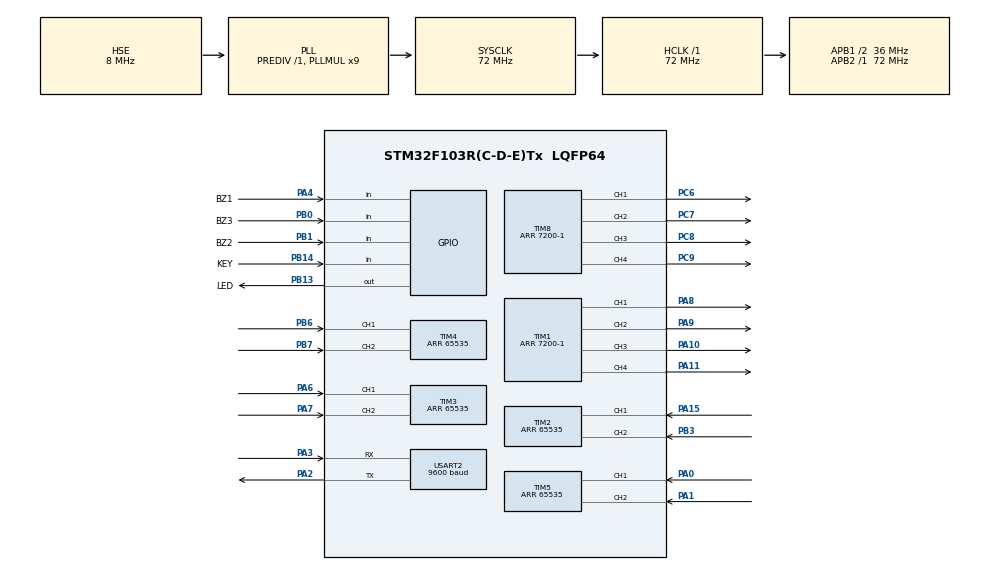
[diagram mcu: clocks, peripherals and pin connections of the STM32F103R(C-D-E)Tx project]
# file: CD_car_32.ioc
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Mcu.Family=STM32F1
SH.S_TIM1_CH4.0=TIM1_CH4,PWM Generation4 CH4
PB14.GPIO_Label=KEY
TIM4.EncoderMode=TIM_ENCODERMODE_TI12
TIM5.EncoderMode=TIM_ENCODERMODE_TI12
TIM3.EncoderMode=TIM_ENCODERMODE_TI12
SH.S_TIM5_CH2.0=TIM5_CH2,Encoder_Interface
PB0.GPIO_Label=BZ3
TIM2.EncoderMode=TIM_ENCODERMODE_TI12
TIM8.Channel-PWM\ Generation4\ CH4=TIM_CHANNEL_4
PB13.GPIO_Label=LED
PB13.Signal=GPIO_Output
RCC.SYSCLKSource=RCC_SYSCLKSOURCE_PLLCLK
ProjectManager.StackSize=0x400
PD1-OSC_OUT.Signal=RCC_OSC_OUT
TIM1.Channel-PWM\ Generation4\ CH4=TIM_CHANNEL_4
RCC.HCLKFreq_Value=72000000
TIM8.Channel-PWM\ Generation1\ CH1=TIM_CHANNEL_1
RCC.APB2TimFreq_Value=72000000
TIM3.Period=65535
PB6.Signal=S_TIM4_CH1
PC7.Signal=S_TIM8_CH2
RCC.AHBFreq_Value=72000000
RCC.PLLMUL=RCC_PLL_MUL9
TIM1.Channel-PWM\ Generation1\ CH1=TIM_CHANNEL_1
PA14.Mode=Serial_Wire
PB1.GPIO_Label=BZ2
SH.S_TIM4_CH2.0=TIM4_CH2,Encoder_Interface
PB7.Signal=S_TIM4_CH2
PA8.Signal=S_TIM1_CH1
SH.S_TIM3_CH1.0=TIM3_CH1,Encoder_Interface
TIM4.Period=65535
TIM6.Period=100-1
TIM5.IC1Filter=10
Mcu.Package=LQFP64
PA6.Signal=S_TIM3_CH1
PB1.Signal=GPIO_Input
TIM8.Channel-PWM\ Generation3\ CH3=TIM_CHANNEL_3
SH.S_TIM8_CH4.0=TIM8_CH4,PWM Generation4 CH4
USART2.VirtualMode=VM_ASYNC
PA10.Signal=S_TIM1_CH3
TIM8.Channel-PWM\ Generation2\ CH2=TIM_CHANNEL_2
PA15.Signal=S_TIM2_CH1_ETR
TIM4.IC1Filter=10
SH.S_TIM4_CH1.0=TIM4_CH1,Encoder_Interface
RCC.APB1TimFreq_Value=72000000
SH.S_TIM5_CH1.0=TIM5_CH1,Encoder_Interface
TIM1.Period=7200-1
PA4.GPIO_Label=BZ1
PA3.Signal=USART2_RX
SH.S_TIM8_CH3.0=TIM8_CH3,PWM Generation3 CH3
RCC.PLLSourceVirtual=RCC_PLLSOURCE_HSE
TIM5.IC2Filter=10
PD1-OSC_OUT.Mode=HSE-External-Oscillator
TIM2.IC1Filter=10
PC8.Signal=S_TIM8_CH3
TIM6.Prescaler=7200-1
PC6.Signal=S_TIM8_CH1
VP_TIM6_VS_ClockSourceINT.Mode=Enable_Timer
TIM4.IC2Filter=10
PD0-OSC_IN.Signal=RCC_OSC_IN
RCC.APB1CLKDivider=RCC_HCLK_DIV2
NVIC.USART2_IRQn=true\:0\:0\:false\:false\:true\:true\:true
USART2.BaudRate=9600
SH.S_TIM8_CH2.0=TIM8_CH2,PWM Generation2 CH2
PA0-WKUP.Signal=S_TIM5_CH1
NVIC.TIM6_IRQn=true\:0\:0\:false\:false\:true\:true\:true
PA13.Signal=SYS_JTMS-SWDIO
PA3.Mode=Asynchronous
SH.S_TIM2_CH2.0=TIM2_CH2,Encoder_Interface
SH.S_TIM1_CH1.0=TIM1_CH1,PWM Generation1 CH1
ProjectManager.TargetToolchain=SW4STM32
TIM3.IC2Filter=10
PA9.Signal=S_TIM1_CH2
TIM1.Channel-PWM\ Generation2\ CH2=TIM_CHANNEL_2
RCC.USBFreq_Value=72000000
PA1.Signal=S_TIM5_CH2
PD0-OSC_IN.Mode=HSE-External-Oscillator
PB14.Signal=GPIO_Input
SH.S_TIM3_CH2.0=TIM3_CH2,Encoder_Interface
TIM3.IC1Filter=10
SH.S_TIM8_CH1.0=TIM8_CH1,PWM Generation1 CH1
board=custom
RCC.APB2Freq_Value=72000000
SH.S_TIM1_CH2.0=TIM1_CH2,PWM Generation2 CH2
TIM2.Period=65535
PA13.Mode=Serial_Wire
Mcu.Name=STM32F103R(C-D-E)Tx
PA2.Signal=USART2_TX
TIM8.Period=7200-1
PB3.Signal=S_TIM2_CH2
PA4.Signal=GPIO_Input
RCC.SYSCLKFreq_VALUE=72000000
PA11.Signal=S_TIM1_CH4
SH.S_TIM2_CH1_ETR.0=TIM2_CH1,Encoder_Interface
PA14.Signal=SYS_JTCK-SWCLK
ProjectManager.HeapSize=0x200
SH.S_TIM1_CH3.0=TIM1_CH3,PWM Generation3 CH3
NVIC.PriorityGroup=NVIC_PRIORITYGROUP_4
PA2.Mode=Asynchronous
TIM5.Period=65535
PC9.Signal=S_TIM8_CH4
TIM1.Channel-PWM\ Generation3\ CH3=TIM_CHANNEL_3
RCC.APB1Freq_Value=36000000
PB0.Signal=GPIO_Input
TIM2.IC2Filter=10
PA7.Signal=S_TIM3_CH2

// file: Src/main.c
/* USER CODE BEGIN Header */
/**
  ******************************************************************************
  * @file           : main.c
  * @brief          : Main program body
  ******************************************************************************
  * @attention
  *
  * <h2><center>&copy; Copyright (c) 2020 STMicroelectronics.
  * All rights reserved.</center></h2>
  *
  * This software component is licensed by ST under BSD 3-Clause license,
  * the "License"; You may not use this file except in compliance with the
  * License. You may obtain a copy of the License at:
  *                        opensource.org/licenses/BSD-3-Clause
  *
  ******************************************************************************
  */
/* USER CODE END Header */

#include "main.h"
#include "tim.h"
#include "usart.h"
#include "gpio.h"

/* USER CODE BEGIN Includes */
#include <string.h>
#include <stdio.h>

/* USER CODE END Includes */

/* USER CODE BEGIN PTD */
#define BUFLEN 10
typedef struct {
    uint8_t x;
    uint8_t y;
    uint8_t z;
}Control; //上位机控制指�???????
typedef struct {
    float x;
    float y;
    float z;
}Move; //处理后�?�度

typedef struct {
    int A;
    int B;
    int C;
    int D;
}Target; //目标�???????

typedef struct {
    int A;
    int B;
    int C;
    int D;
}Encoder; //编码器�??
typedef struct {
    int A;
    int B;
    int C;
    int D;
}Motor; //电机�???????

/* USER CODE END PTD */

/* USER CODE BEGIN PV */
uint8_t RxBuffer; //串口接收
Control order; //上位机指�???????
Move mov; //XYZ目标速度
Target tgt; //电机目标�???????
Encoder enc; //编码器�??
Motor motr; //电机PWM�???????
float Velocity_KP=10,Velocity_KI=10; //速度控制PID参数

uint16_t usartCnt = 0;
uint16_t beforeCnt = 0;
uint8_t checkTime = 0;

//int befor_count=0; //1s以前的串口完整传输次�?
//int now_count=0;    //1s以后的串口完整传输次�?
//int time=0;
//int flag=0;
//
//int ir_A4=0;    //红外三个标志位
//int ir_B0=0;
//int ir_B1=0;
/* USER CODE END PV */

void SystemClock_Config(void);

/* USER CODE BEGIN 0 */

void flash_ENC(){
    enc.A = (short)__HAL_TIM_GET_COUNTER(&htim2);
    __HAL_TIM_SET_COUNTER(&htim2, 0);
    enc.B = (short)__HAL_TIM_GET_COUNTER(&htim3);
    __HAL_TIM_SET_COUNTER(&htim3, 0);
    enc.C = (short)__HAL_TIM_GET_COUNTER(&htim4);
    __HAL_TIM_SET_COUNTER(&htim4, 0);
    enc.D = (short)__HAL_TIM_GET_COUNTER(&htim5);
    __HAL_TIM_SET_COUNTER(&htim5, 0);

}
void order_To_Move(){
    mov.x = (float )(order.x-100);
    mov.y = (float )(order.y-100);
    mov.z = (float )(order.z-100);
    mov.x = -mov.x;
//    mov.y = -mov.y;
    mov.z = mov.z;
}
void check_ir(){
    if(!HAL_GPIO_ReadPin(BZ1_GPIO_Port, BZ1_Pin)){  //左
        if(mov.x > 0){
            mov.x = 0;
        }
    }
    if(!HAL_GPIO_ReadPin(BZ2_GPIO_Port, BZ2_Pin)){  //左
        if(mov.x < 0){
            mov.x = 0;
        }
    }
    if(!HAL_GPIO_ReadPin(BZ3_GPIO_Port, BZ3_Pin)){  //后
        if(mov.y < 0){
            mov.y = 0;
        }
    }
}
void check_timeout(){
    if(checkTime++ == 25){
        checkTime = 0;
        if(beforeCnt == usartCnt){
            order.x = 0x64;
            order.y = 0x64;
            order.z = 0x64;
        } else{
            beforeCnt = usartCnt;
        }
    }
}
void Kinematic_Analysis_4() {
    float wide = (float) 0.18652, lenth = (float) 0.1525;
    tgt.A = (int) (mov.y - mov.x + mov.z * (wide + lenth));
    tgt.B = (int) (mov.y + mov.x - mov.z * (wide + lenth));
    tgt.C = (int) (mov.y - mov.x - mov.z * (wide + lenth));
    tgt.D = (int) (mov.y + mov.x + mov.z * (wide + lenth));

    //dir chaenge
    tgt.A=-tgt.A;
    tgt.D=-tgt.D;
}
int Incremental_PI_A(int Encoder,int Target){
    static int Bias,Pwm,Last_bias;
    Bias=Target-Encoder;
    Pwm+=Velocity_KP*(Bias-Last_bias)+Velocity_KI*Bias;
    if(Pwm>7200)Pwm=7200;
    if(Pwm<-7200)Pwm=-7200;
    Last_bias=Bias;
    return Pwm;
}
int Incremental_PI_B(int Encoder,int Target){
    static int Bias,Pwm,Last_bias;
    Bias=Target-Encoder;
    Pwm+=Velocity_KP*(Bias-Last_bias)+Velocity_KI*Bias;
    if(Pwm>7200)Pwm=7200;
    if(Pwm<-7200)Pwm=-7200;
    Last_bias=Bias;
    return Pwm;
}
int Incremental_PI_C(int Encoder,int Target){
    static int Bias,Pwm,Last_bias;
    Bias=Target-Encoder;
    Pwm+=Velocity_KP*(Bias-Last_bias)+Velocity_KI*Bias;
    if(Pwm>7200)Pwm=7200;
    if(Pwm<-7200)Pwm=-7200;
    Last_bias=Bias;
    return Pwm;
}
int Incremental_PI_D(int Encoder,int Target){
    static int Bias,Pwm,Last_bias;
    Bias=Target-Encoder;
    Pwm+=Velocity_KP*(Bias-Last_bias)+Velocity_KI*Bias;
    if(Pwm>7200)Pwm=7200;
    if(Pwm<-7200)Pwm=-7200;
    Last_bias=Bias;
    return Pwm;
}
void range_Pwm(int amplitude){
    if(motr.A<-amplitude) motr.A=-amplitude;
    if(motr.A>amplitude)  motr.A=amplitude;
    if(motr.B<-amplitude) motr.B=-amplitude;
    if(motr.B>amplitude)  motr.B=amplitude;
    if(motr.C<-amplitude) motr.C=-amplitude;
    if(motr.C>amplitude)  motr.C=amplitude;
    if(motr.D<-amplitude) motr.D=-amplitude;
    if(motr.D>amplitude)  motr.D=amplitude;
}
void Set_Pwm(){
    if(motr.A>0){
        __HAL_TIM_SET_COMPARE(&htim1, TIM_CHANNEL_1, 7200);
        __HAL_TIM_SET_COMPARE(&htim8, TIM_CHANNEL_1, 7200-motr.A);
    }else{
        __HAL_TIM_SET_COMPARE(&htim1, TIM_CHANNEL_1, 7200+motr.A);
        __HAL_TIM_SET_COMPARE(&htim8, TIM_CHANNEL_1, 7200);
    }

    if(motr.B>0){
        __HAL_TIM_SET_COMPARE(&htim1, TIM_CHANNEL_2, 7200);
        __HAL_TIM_SET_COMPARE(&htim8, TIM_CHANNEL_2, 7200-motr.B);
    }else{
        __HAL_TIM_SET_COMPARE(&htim1, TIM_CHANNEL_2, 7200+motr.B);
        __HAL_TIM_SET_COMPARE(&htim8, TIM_CHANNEL_2, 7200);
    }

    if(motr.C>0){
        __HAL_TIM_SET_COMPARE(&htim1, TIM_CHANNEL_3, 7200);
        __HAL_TIM_SET_COMPARE(&htim8, TIM_CHANNEL_3, 7200-motr.C);
    }
    else{
        __HAL_TIM_SET_COMPARE(&htim1, TIM_CHANNEL_3, 7200+motr.C);
        __HAL_TIM_SET_COMPARE(&htim8, TIM_CHANNEL_3, 7200);
    }

    if(motr.D>0){
        __HAL_TIM_SET_COMPARE(&htim1, TIM_CHANNEL_4, 7200);
        __HAL_TIM_SET_COMPARE(&htim8, TIM_CHANNEL_4, 7200-motr.D);
    }else {
        __HAL_TIM_SET_COMPARE(&htim1, TIM_CHANNEL_4, 7200+motr.D);
        __HAL_TIM_SET_COMPARE(&htim8, TIM_CHANNEL_4, 7200);
    }
}
void init_allPara(){
    RxBuffer=0; //串口接收
    order.x=100; //上位机指�???????
    order.y=100;
    order.z=100;

    mov.x=0; //XYZ目标速度
    mov.y=0;
    mov.z=0;

    tgt.A=0;
    tgt.B=0;
    tgt.C=0;
    tgt.D=0;

    enc.A=0;
    enc.B=0;
    enc.C=0;
    enc.D=0;

    motr.A=0;
    motr.B=0;
    motr.C=0;
    motr.D=0;
}

/* USER CODE END 0 */

int main(void)
{

    /* MCU Configuration--------------------------------------------------------*/

    /* Reset of all peripherals, Initializes the Flash interface and the Systick. */
    HAL_Init();

    /* Configure the system clock */
    SystemClock_Config();

    /* Initialize all configured peripherals */
    MX_GPIO_Init();
    MX_TIM1_Init();
    MX_TIM2_Init();
    MX_TIM3_Init();
    MX_TIM4_Init();
    MX_TIM5_Init();
    MX_TIM8_Init();
    MX_USART2_UART_Init();
    MX_TIM6_Init();
    /* USER CODE BEGIN 2 */
    HAL_TIM_Encoder_Start(&htim2, TIM_CHANNEL_1|TIM_CHANNEL_2);
    HAL_TIM_Encoder_Start(&htim3, TIM_CHANNEL_1|TIM_CHANNEL_2);
    HAL_TIM_Encoder_Start(&htim4, TIM_CHANNEL_1|TIM_CHANNEL_2);
    HAL_TIM_Encoder_Start(&htim5, TIM_CHANNEL_1|TIM_CHANNEL_2);
    HAL_TIM_PWM_Start(&htim1,TIM_CHANNEL_1);
    HAL_TIM_PWM_Start(&htim1,TIM_CHANNEL_2);
    HAL_TIM_PWM_Start(&htim1,TIM_CHANNEL_3);
    HAL_TIM_PWM_Start(&htim1,TIM_CHANNEL_4);
    HAL_TIM_PWM_Start(&htim8,TIM_CHANNEL_1);
    HAL_TIM_PWM_Start(&htim8,TIM_CHANNEL_2);
    HAL_TIM_PWM_Start(&htim8,TIM_CHANNEL_3);
    HAL_TIM_PWM_Start(&htim8,TIM_CHANNEL_4);

    HAL_TIM_Base_Start_IT(&htim6);								//base timer
    HAL_UART_Receive_IT(&huart2, &RxBuffer, 1);
    init_allPara();

    /* USER CODE END 2 */

    /* Infinite loop */
    while (1)
    {

    }
}

void SystemClock_Config(void)
{
    RCC_OscInitTypeDef RCC_OscInitStruct = {0};
    RCC_ClkInitTypeDef RCC_ClkInitStruct = {0};

    /** Initializes the CPU, AHB and APB busses clocks
    */
    RCC_OscInitStruct.OscillatorType = RCC_OSCILLATORTYPE_HSE;
    RCC_OscInitStruct.HSEState = RCC_HSE_ON;
    RCC_OscInitStruct.HSEPredivValue = RCC_HSE_PREDIV_DIV1;
    RCC_OscInitStruct.HSIState = RCC_HSI_ON;
    RCC_OscInitStruct.PLL.PLLState = RCC_PLL_ON;
    RCC_OscInitStruct.PLL.PLLSource = RCC_PLLSOURCE_HSE;
    RCC_OscInitStruct.PLL.PLLMUL = RCC_PLL_MUL9;
    if (HAL_RCC_OscConfig(&RCC_OscInitStruct) != HAL_OK)
    {
        Error_Handler();
    }
    /** Initializes the CPU, AHB and APB busses clocks
    */
    RCC_ClkInitStruct.ClockType = RCC_CLOCKTYPE_HCLK|RCC_CLOCKTYPE_SYSCLK
                                  |RCC_CLOCKTYPE_PCLK1|RCC_CLOCKTYPE_PCLK2;
    RCC_ClkInitStruct.SYSCLKSource = RCC_SYSCLKSOURCE_PLLCLK;
    RCC_ClkInitStruct.AHBCLKDivider = RCC_SYSCLK_DIV1;
    RCC_ClkInitStruct.APB1CLKDivider = RCC_HCLK_DIV2;
    RCC_ClkInitStruct.APB2CLKDivider = RCC_HCLK_DIV1;

    if (HAL_RCC_ClockConfig(&RCC_ClkInitStruct, FLASH_LATENCY_2) != HAL_OK)
    {
        Error_Handler();
    }
}

/* USER CODE BEGIN 4 */
void HAL_UART_RxCpltCallback(UART_HandleTypeDef *huart){ //串口2接收中断
    if(huart == &huart2){
        static uint8_t flag, i, receive[BUFLEN];
        if(RxBuffer==0xf0) flag = 1; // 开始采集标记位
        if(RxBuffer==0xfa) flag = 2; //结束采集标记

        if(flag==1){ //采集数据
            receive[i++] = RxBuffer;
            if(i==10){
                memset(receive, 0, sizeof(uint8_t) * BUFLEN);
                flag = 0;
            }
        }
        if(flag==2){ //分析数据
            HAL_GPIO_TogglePin(LED_GPIO_Port, LED_Pin); //翻转LED
            HAL_UART_Transmit(&huart2, receive, sizeof(uint8_t) * 10, 100); //发送至串口
            //数据更新
            order.x = receive[1];
            order.y = receive[2];
            order.z = receive[3];
            if(usartCnt++ == 60000) usartCnt=0;
            // 重置数据
            flag = 0;
            i = 0;
            memset(receive, 0, sizeof(uint8_t) * BUFLEN);
        }
        HAL_UART_Receive_IT(&huart2, &RxBuffer, 1); //重新使能串口接收中断
    }
}

void HAL_TIM_PeriodElapsedCallback(TIM_HandleTypeDef *htim){ //10ms控制�???????�???????
    if (htim->Instance == htim6.Instance){
        flash_ENC(); //刷新编码器
        check_timeout(); //检查信号传输状态（周期1s）
        order_To_Move(); //串口-计算数据转换
        check_ir(); //检查红外避障
        Kinematic_Analysis_4(); //运动学解算
        motr.A=Incremental_PI_A(enc.A, tgt.A); //A轮PI控制
        motr.B=Incremental_PI_B(enc.B, tgt.B); //B轮PI控制
        motr.C=Incremental_PI_C(enc.C, tgt.C); //C轮PI控制
        motr.D=Incremental_PI_D(enc.D, tgt.D); //D轮PI控制
        range_Pwm(7000); //PWM限制幅度
        Set_Pwm(); //PWM赋值
        if(!HAL_GPIO_ReadPin(KEY_GPIO_Port, KEY_Pin)) { //DEBUG
//            printf("%d\t%d\t%d\n", tgt.A, motr.A, enc.A);
//            order.x = 100;
//            order.y = 0x6e;
//            order.z = 100;
//            printf("%d\t%d\t%d\n",order.x,order.y,order.z);
//            printf("%f\t%f\t%f\n", mov.x, mov.y, mov.z);
//            printf("%d\t%d\t%d\t%d\n",tgt.A,tgt.B,tgt.C,tgt.D);
//            printf("%d\t%d\t%d\t%d\n",motr.A,motr.B,motr.C,motr.D);
        }

    }
}

/* USER CODE END 4 */

void Error_Handler(void)
{
}

/************************ (C) COPYRIGHT STMicroelectronics *****END OF FILE****/
